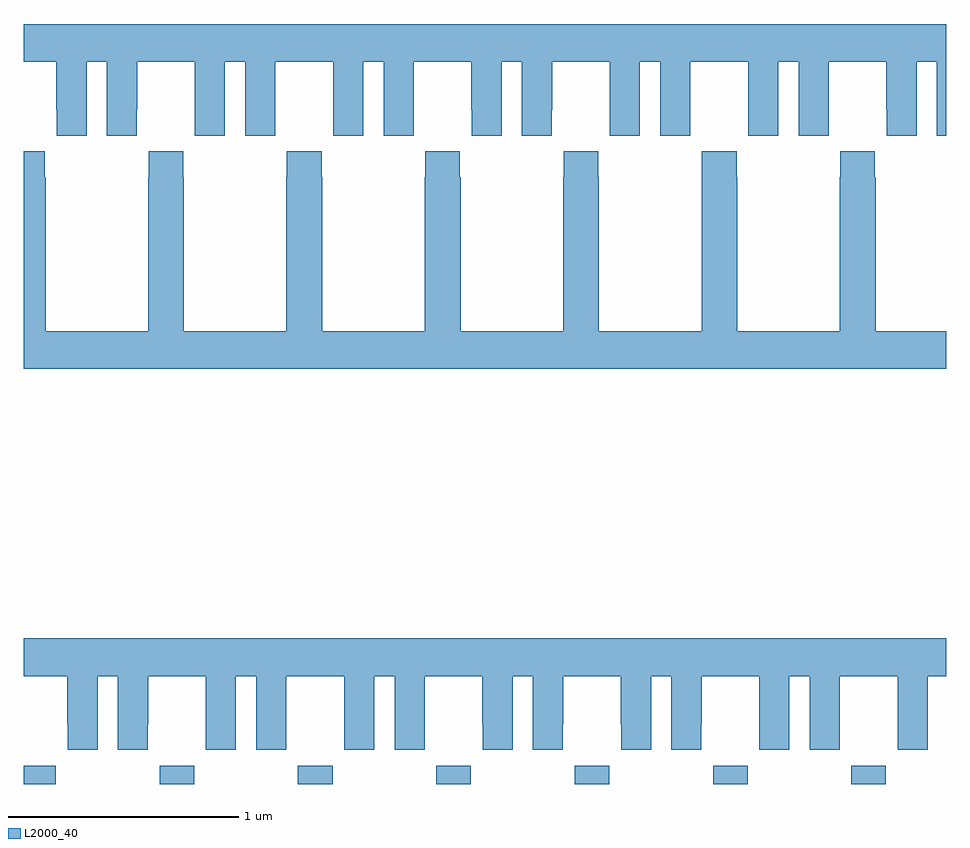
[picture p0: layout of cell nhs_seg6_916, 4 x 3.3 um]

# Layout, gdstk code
import gdstk
lib = gdstk.Library(unit=1e-6, precision=1e-09)
def R(c, l, rs):  # rectangles x0, y0, x1, y1
    for r in rs: c.add(gdstk.rectangle(r[:2], r[2:], *l))
def A(c, l, x, y, w, h, nx, ny, dx, dy):  # array of equal rectangles
    R(c, l, [(x+i*dx, y+j*dy, x+i*dx+w, y+j*dy+h) for i in range(nx) for j in range(ny)])
def P(c, l, *ps):  # polygons
    for p in ps: c.add(gdstk.Polygon(p, *l))
L2000_40 = (2000, 40)

nhs_seg6_916 = lib.new_cell('nhs_seg6_916')
A(nhs_seg6_916, L2000_40, 167.589, 981.5, 0.15, 0.08, 6, 1, 0.6, 0)
R(nhs_seg6_916, L2000_40, [(167,981.5,167.139,981.58)])
P(nhs_seg6_916, L2000_40, [(167.272,984.632),(167.36,984.632),(167.36,984.312),(167.49,984.312),(167.49,984.424),(167.491,984.424),(167.491,984.632),(167.741,984.632),(167.741,984.424),(167.742,984.424),(167.742,984.312),(167.872,984.312),(167.872,984.632),(167.96,984.632),(167.96,984.312),(168.09,984.312),(168.09,984.424),(168.091,984.424),(168.091,984.632),(168.341,984.632),(168.341,984.424),(168.342,984.424),(168.342,984.312),(168.472,984.312),(168.472,984.632),(168.56,984.632),(168.56,984.312),(168.69,984.312),(168.69,984.424),(168.691,984.424),(168.691,984.632),(168.941,984.632),(168.941,984.424),(168.942,984.424),(168.942,984.312),(169.072,984.312),(169.072,984.632),(169.16,984.632),(169.16,984.312),(169.29,984.312),(169.29,984.424),(169.291,984.424),(169.291,984.632),(169.541,984.632),(169.541,984.424),(169.542,984.424),(169.542,984.312),(169.672,984.312),(169.672,984.632),(169.76,984.632),(169.76,984.312),(169.89,984.312),(169.89,984.424),(169.891,984.424),(169.891,984.632),(170.141,984.632),(170.141,984.424),(170.142,984.424),(170.142,984.312),(170.272,984.312),(170.272,984.632),(170.36,984.632),(170.36,984.312),(170.49,984.312),(170.49,984.424),(170.491,984.424),(170.491,984.632),(170.741,984.632),(170.741,984.424),(170.742,984.424),(170.742,984.312),(170.872,984.312),(170.872,984.632),(170.96,984.632),(170.96,984.312),(171,984.312),(171,984.796),(167,984.796),(167,984.632),(167.141,984.632),(167.141,984.424),(167.142,984.424),(167.142,984.312),(167.272,984.312)],
  [(171,983.464),(170.694,983.464),(170.694,984.131),(170.691,984.131),(170.691,984.244),(170.541,984.244),(170.541,984.131),(170.539,984.131),(170.539,983.464),(170.094,983.464),(170.094,984.131),(170.091,984.131),(170.091,984.244),(169.941,984.244),(169.941,984.131),(169.939,984.131),(169.939,983.464),(169.494,983.464),(169.494,984.131),(169.491,984.131),(169.491,984.244),(169.341,984.244),(169.341,984.131),(169.339,984.131),(169.339,983.464),(168.894,983.464),(168.894,984.131),(168.891,984.131),(168.891,984.244),(168.741,984.244),(168.741,984.131),(168.739,984.131),(168.739,983.464),(168.294,983.464),(168.294,984.131),(168.291,984.131),(168.291,984.244),(168.141,984.244),(168.141,984.131),(168.139,984.131),(168.139,983.464),(167.694,983.464),(167.694,984.131),(167.691,984.131),(167.691,984.244),(167.541,984.244),(167.541,984.131),(167.539,984.131),(167.539,983.464),(167.094,983.464),(167.094,984.131),(167.091,984.131),(167.091,984.244),(167,984.244),(167,983.3),(171,983.3)],
  [(167.32,981.968),(167.408,981.968),(167.408,981.648),(167.538,981.648),(167.538,981.76),(167.539,981.76),(167.539,981.968),(167.789,981.968),(167.789,981.76),(167.79,981.76),(167.79,981.648),(167.92,981.648),(167.92,981.968),(168.008,981.968),(168.008,981.648),(168.138,981.648),(168.138,981.76),(168.139,981.76),(168.139,981.968),(168.389,981.968),(168.389,981.76),(168.39,981.76),(168.39,981.648),(168.52,981.648),(168.52,981.968),(168.608,981.968),(168.608,981.648),(168.738,981.648),(168.738,981.76),(168.739,981.76),(168.739,981.968),(168.989,981.968),(168.989,981.76),(168.99,981.76),(168.99,981.648),(169.12,981.648),(169.12,981.968),(169.208,981.968),(169.208,981.648),(169.338,981.648),(169.338,981.76),(169.339,981.76),(169.339,981.968),(169.589,981.968),(169.589,981.76),(169.59,981.76),(169.59,981.648),(169.72,981.648),(169.72,981.968),(169.808,981.968),(169.808,981.648),(169.938,981.648),(169.938,981.76),(169.939,981.76),(169.939,981.968),(170.189,981.968),(170.189,981.76),(170.19,981.76),(170.19,981.648),(170.32,981.648),(170.32,981.968),(170.408,981.968),(170.408,981.648),(170.538,981.648),(170.538,981.76),(170.539,981.76),(170.539,981.968),(170.789,981.968),(170.789,981.76),(170.79,981.76),(170.79,981.648),(170.92,981.648),(170.92,981.968),(171,981.968),(171,982.132),(167,982.132),(167,981.968),(167.189,981.968),(167.189,981.76),(167.19,981.76),(167.19,981.648),(167.32,981.648)])

lib.write_gds('nhs_seg6_916.gds')
